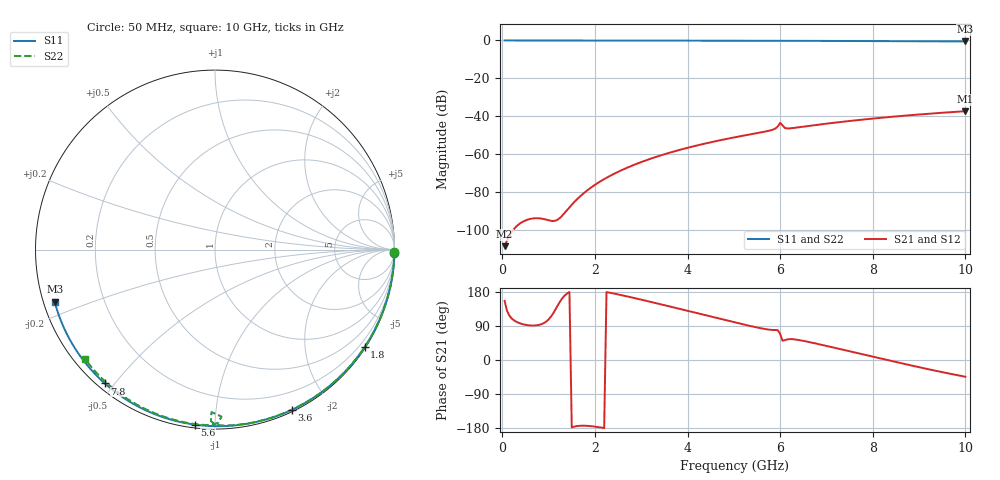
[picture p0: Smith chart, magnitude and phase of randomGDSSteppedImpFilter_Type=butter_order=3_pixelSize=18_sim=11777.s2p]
! freq	dB(S11)	phase(S11)	dB(S12)	phase(S12)
!  dB(S21)	phase(S21)	dB(S22)	phase(S22)
!S-par simulation data
#  GHz  S  DB  R 50
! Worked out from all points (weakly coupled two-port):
!   200 points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, 50 MHz to 10 GHz, reference 50 ohm
!   highest |S21| = -37.22 dB at 10 GHz (marker M1); lowest = -108.3 dB at 50 MHz (marker M2)
!   lowest |S11| = -0.5 dB at 10 GHz (marker M3), VSWR 31.93, Z = 1.61 - j7.91 ohm
!   |S11| at or under -10 dB: nowhere
!   |S22| runs from -0.9 to 0.0 dB; largest |S21 - S12| = 0
!   S11 on the Smith chart (normalised r, x): 50 MHz: open; 1.8 GHz: 0.03, -3.36; 3.6 GHz: 0.02, -1.59; 5.6 GHz: 0.02, -0.89; 7.8 GHz: 0.02, -0.47; 10 GHz: 0.03, -0.16
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0.05  -0.00 -0.9  -108.25 156.0  -108.25 156.0  -0.00 -0.8
0.85  -0.02 -15.8  -93.77 94.7  -93.77 94.7  -0.02 -13.7
1.75  -0.04 -32.2  -80.55 -173.4  -80.55 -173.4  -0.04 -28.0
1.8  -0.04 -33.1  -79.55 -173.5  -79.55 -173.5  -0.04 -28.7
2.1  -0.05 -38.5  -74.42 -177.6  -74.42 -177.6  -0.04 -33.4
2.5  -0.06 -45.6  -69.13 173.1  -69.13 173.1  -0.05 -39.6
2.9  -0.07 -52.5  -64.93 162.2  -64.93 162.2  -0.06 -45.7
3.4  -0.08 -61.1  -60.65 147.6  -60.65 147.6  -0.07 -53.2
3.6  -0.09 -64.5  -59.17 141.7  -59.17 141.7  -0.08 -56.1
4.3  -0.11 -76.0  -54.69 120.7  -54.69 120.7  -0.09 -66.3
5.05  -0.14 -88.0  -50.81 98.4  -50.81 98.4  -0.12 -77.0
5.6  -0.16 -96.6  -48.32 83.4  -48.32 83.4  -0.15 -84.8
5.9  -0.17 -101.2  -46.28 79.2  -46.28 79.2  -0.24 -90.0
6  -0.18 -102.7  -43.37 68.5  -43.37 68.5  -0.86 -91.2
6.05  -0.18 -103.5  -44.65 51.0  -44.65 51.0  -0.62 -87.8
6.1  -0.19 -104.2  -46.03 52.2  -46.03 52.2  -0.32 -88.9
6.15  -0.19 -105.0  -46.31 54.3  -46.31 54.3  -0.24 -90.1
6.7  -0.22 -113.2  -44.70 45.4  -44.70 45.4  -0.20 -98.5
7.8  -0.30 -129.4  -41.59 14.4  -41.59 14.4  -0.26 -112.6
8.35  -0.35 -137.5  -40.30 -1.1  -40.30 -1.1  -0.31 -119.5
9.2  -0.44 -150.0  -38.58 -24.3  -38.58 -24.3  -0.39 -130.0
10  -0.54 -162.0  -37.22 -44.1  -37.22 -44.1  -0.48 -139.9
